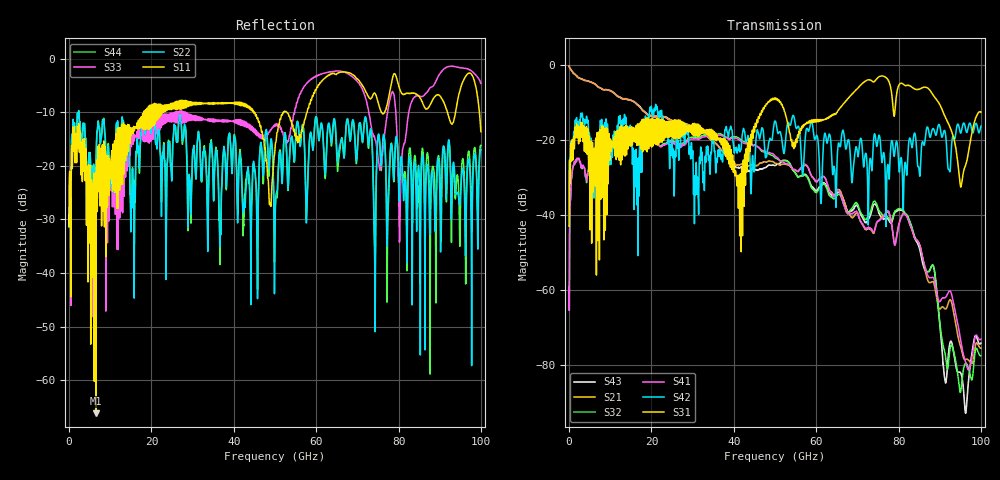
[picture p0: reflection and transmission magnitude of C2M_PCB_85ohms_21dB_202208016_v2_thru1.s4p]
! Info: Touchstone file created by Circ.  Input file=Intel_C2M_200G_8p0in_202208016_staggered.circ
# Hz S RI R 50
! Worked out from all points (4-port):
!   10000 points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, 10 MHz to 100 GHz, reference 50 ohm
!   strongest paths, dB at 10 MHz, 25.01 GHz, 50.01 GHz, 75.01 GHz, 100 GHz:
!     S31: -42.9, -18.8, -9.2, -3.3, -12.5
!     S42: -42.9, -20.1, -14.9, -19.8, -16.3
!     S41: -59.2, -20.5, -24.2, -41.4, -73.0
!     S32: -59.2, -20.2, -24.6, -38.0, -77.4
!     S21: -0.2, -14.8, -26.1, -41.5, -75.5
!     S43: -0.2, -14.7, -26.7, -38.5, -74.1
!   lowest |S11| = -66.2 dB at 6.49 GHz (marker M1), VSWR 1.00, Z = 50 - j0.0488 ohm
!   |S11| at or under -10 dB: start of sweep to 18.18 GHz; 44.85 GHz to 52.18 GHz (7.331 GHz wide, 15.1 % of centre); 52.91 GHz to 57.81 GHz (4.896 GHz wide, 8.84 % of centre)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
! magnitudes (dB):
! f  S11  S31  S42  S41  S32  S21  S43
! 10 MHz  -31.3  -42.9  -42.9  -59.2  -59.2  -0.2  -0.2
! 1.17 GHz  -15.5  -19.6  -17.7  -26.6  -26.5  -2.2  -2.2
! 6.49 GHz  -66.2  -19.5  -19.9  -21.8  -21.6  -5.2  -5.2
! 65.03 GHz  -2.8  -12.6  -27.3  -33.8  -34.8  -33.4  -34.3
! 80.73 GHz  -6.4  -4.8  -25.0  -40.5  -38.3  -40.2  -38.6
! 91.23 GHz  -8.6  -13.5  -17.5  -62.0  -76.5  -64.9  -83.6
! 100 GHz  -13.6  -12.5  -16.3  -73.0  -77.4  -75.5  -74.1
